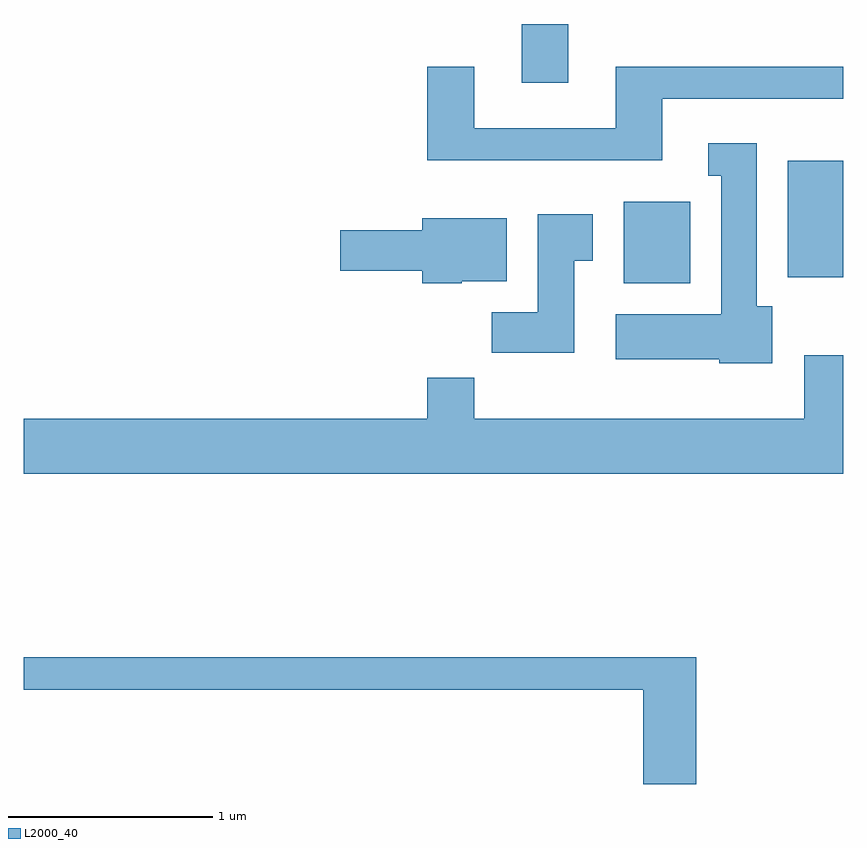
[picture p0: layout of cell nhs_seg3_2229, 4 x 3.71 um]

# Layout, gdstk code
import gdstk
lib = gdstk.Library(unit=1e-6, precision=1e-09)
def R(c, l, rs):  # rectangles x0, y0, x1, y1
    for r in rs: c.add(gdstk.rectangle(r[:2], r[2:], *l))
def P(c, l, *ps):  # polygons
    for p in ps: c.add(gdstk.Polygon(p, *l))
L2000_40 = (2000, 40)

nhs_seg3_2229 = lib.new_cell('nhs_seg3_2229')
R(nhs_seg3_2229, L2000_40, [(252.541,1224.626,252.864,1225.024), (253.341,1224.656,253.611,1225.224), (252.041,1225.606,252.269,1225.892)])
P(nhs_seg3_2229, L2000_40, [(252.729,1225.526),(253.611,1225.526),(253.611,1225.684),(252.501,1225.684),(252.501,1225.384),(251.809,1225.384),(251.809,1225.684),(251.581,1225.684),(251.581,1225.226),(252.729,1225.226)],
  [(253.264,1224.514),(253.189,1224.514),(253.189,1225.309),(252.953,1225.309),(252.953,1225.151),(253.016,1225.151),(253.016,1224.474),(252.501,1224.474),(252.501,1224.256),(253.006,1224.256),(253.006,1224.236),(253.264,1224.236)],
  [(252.299,1224.736),(252.389,1224.736),(252.389,1224.964),(252.121,1224.964),(252.121,1224.484),(251.896,1224.484),(251.896,1224.286),(252.299,1224.286)],
  [(251.75,1224.636),(251.969,1224.636),(251.969,1224.944),(251.556,1224.944),(251.556,1224.884),(251.156,1224.884),(251.156,1224.686),(251.556,1224.686),(251.556,1224.626),(251.75,1224.626)],
  [(251.581,1224.164),(251.581,1223.964),(249.611,1223.964),(249.611,1223.696),(253.611,1223.696),(253.611,1224.274),(253.421,1224.274),(253.421,1223.964),(251.809,1223.964),(251.809,1224.164)],
  [(252.894,1222.799),(249.611,1222.799),(249.611,1222.641),(252.636,1222.641),(252.636,1222.181),(252.894,1222.181)])

lib.write_gds('nhs_seg3_2229.gds')
